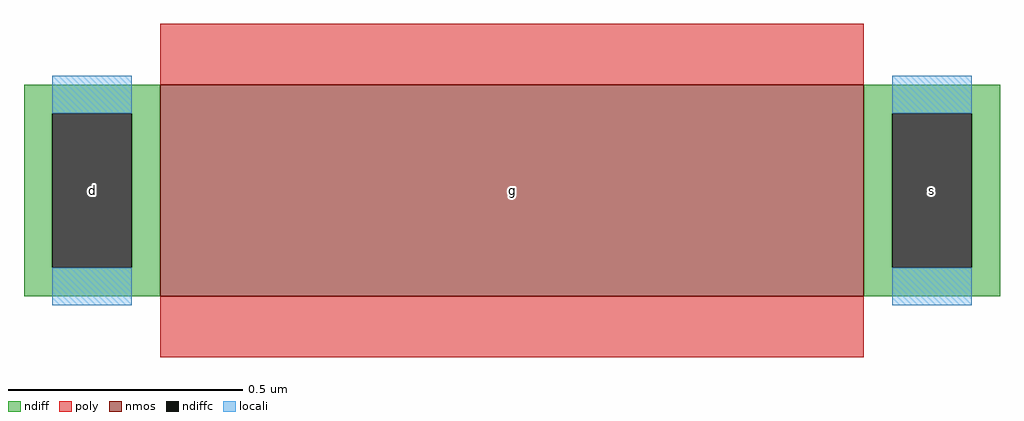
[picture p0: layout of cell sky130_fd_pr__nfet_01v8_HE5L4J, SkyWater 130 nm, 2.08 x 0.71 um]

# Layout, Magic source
magic
tech sky130A
magscale 1 2
<< nmos >>
rect -150 -45 150 45
<< ndiff >>
rect -208 33 -150 45
rect -208 -33 -196 33
rect -162 -33 -150 33
rect -208 -45 -150 -33
rect 150 33 208 45
rect 150 -33 162 33
rect 196 -33 208 33
rect 150 -45 208 -33
<< ndiffc >>
rect -196 -33 -162 33
rect 162 -33 196 33
<< poly >>
rect -150 45 150 71
rect -150 -71 150 -45
<< locali >>
rect -196 33 -162 49
rect -196 -49 -162 -33
rect 162 33 196 49
rect 162 -49 196 -33
<< labels >>
flabel ndiffc -179 0 -179 0 0 FreeSans 80 0 0 0 d
flabel ndiffc 179 0 179 0 0 FreeSans 80 0 0 0 s
flabel nmos -150 -45 150 45 0 FreeSans 80 0 0 0 g
<< properties >>
string gencell sky130_fd_pr__nfet_01v8
string library sky130
string parameters w 0.45 l 1.5 m 1 nf 1 diffcov 100 polycov 100 guard 0 glc 0 grc 0 gtc 0 gbc 0 tbcov 100 rlcov 100 topc 0 botc 0 poverlap 0 doverlap 1 lmin 0.15 wmin 0.42 compatible {sky130_fd_pr__nfet_01v8 sky130_fd_pr__nfet_01v8_lvt  sky130_fd_bs_flash__special_sonosfet_star  sky130_fd_pr__nfet_g5v0d10v5 sky130_fd_pr__nfet_05v0_nvt  sky130_fd_pr__nfet_03v3_nvt} full_metal 1 viasrc 100 viadrn 100 viagate 100 viagb 0 viagr 0 viagl 0 viagt 0
<< end >>
